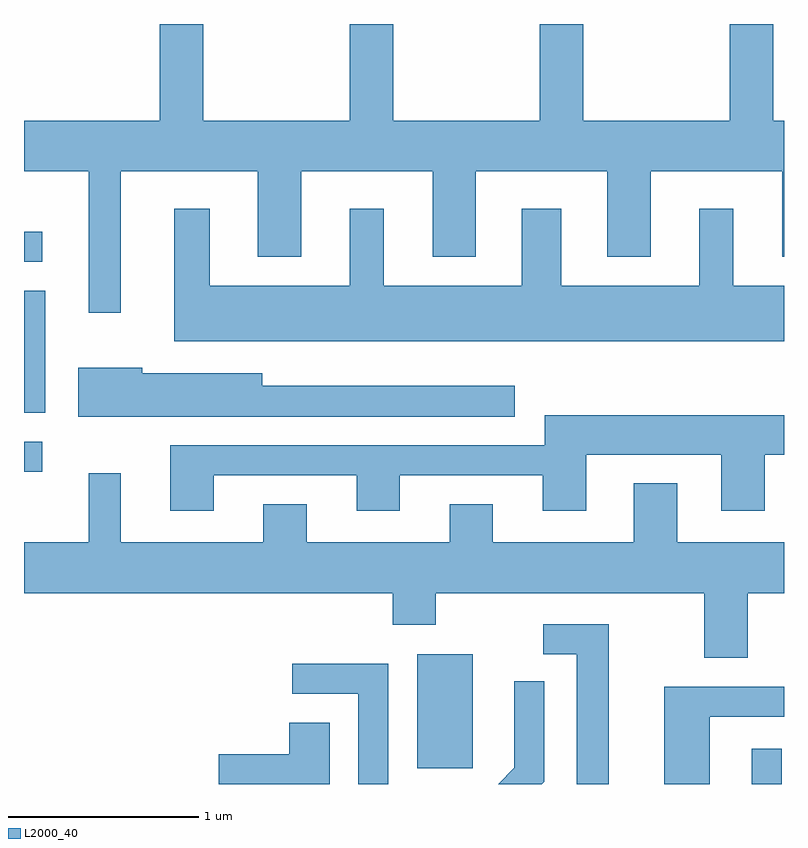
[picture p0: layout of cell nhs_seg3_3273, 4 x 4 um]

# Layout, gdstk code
import gdstk
lib = gdstk.Library(unit=1e-6, precision=1e-09)
def R(c, l, rs):  # rectangles x0, y0, x1, y1
    for r in rs: c.add(gdstk.rectangle(r[:2], r[2:], *l))
def P(c, l, *ps):  # polygons
    for p in ps: c.add(gdstk.Polygon(p, *l))
L2000_40 = (2000, 40)

nhs_seg3_3273 = lib.new_cell('nhs_seg3_3273')
R(nhs_seg3_3273, L2000_40, [(285.441,1133.892,285.599,1134.078), (283.681,1133.976,283.974,1134.574), (281.611,1135.536,281.708,1135.694), (281.611,1135.846,281.724,1136.489), (281.611,1136.641,281.708,1136.799)])
P(nhs_seg3_3273, L2000_40, [(283.554,1137.892),(283.326,1137.892),(283.326,1137.384),(282.554,1137.384),(282.554,1137.892),(282.326,1137.892),(282.326,1137.384),(281.611,1137.384),(281.611,1137.116),(281.951,1137.116),(281.951,1136.373),(282.119,1136.373),(282.119,1137.116),(282.841,1137.116),(282.841,1136.666),(283.069,1136.666),(283.069,1137.116),(283.761,1137.116),(283.761,1136.666),(283.989,1136.666),(283.989,1137.116),(284.681,1137.116),(284.681,1136.666),(284.909,1136.666),(284.909,1137.116),(285.601,1137.116),(285.601,1136.666),(285.611,1136.666),(285.611,1137.384),(285.554,1137.384),(285.554,1137.892),(285.326,1137.892),(285.326,1137.384),(284.554,1137.384),(284.554,1137.892),(284.326,1137.892),(284.326,1137.384),(283.554,1137.384)],
  [(285.611,1136.514),(285.344,1136.514),(285.344,1136.919),(285.166,1136.919),(285.166,1136.514),(284.439,1136.514),(284.439,1136.919),(284.231,1136.919),(284.231,1136.514),(283.504,1136.514),(283.504,1136.919),(283.326,1136.919),(283.326,1136.514),(282.589,1136.514),(282.589,1136.919),(282.401,1136.919),(282.401,1136.221),(285.611,1136.221)],
  [(284.193,1135.989),(282.864,1135.989),(282.864,1136.054),(282.234,1136.054),(282.234,1136.084),(281.896,1136.084),(281.896,1135.826),(284.193,1135.826)],
  [(282.609,1135.516),(283.361,1135.516),(283.361,1135.331),(283.589,1135.331),(283.589,1135.516),(284.341,1135.516),(284.341,1135.331),(284.569,1135.331),(284.569,1135.626),(285.281,1135.626),(285.281,1135.331),(285.509,1135.331),(285.509,1135.626),(285.611,1135.626),(285.611,1135.834),(284.351,1135.834),(284.351,1135.674),(282.381,1135.674),(282.381,1135.331),(282.609,1135.331)],
  [(285.191,1134.556),(285.419,1134.556),(285.419,1134.896),(285.611,1134.896),(285.611,1135.164),(285.049,1135.164),(285.049,1135.474),(284.821,1135.474),(284.821,1135.164),(284.079,1135.164),(284.079,1135.364),(283.851,1135.364),(283.851,1135.164),(283.099,1135.164),(283.099,1135.364),(282.871,1135.364),(282.871,1135.164),(282.119,1135.164),(282.119,1135.528),(281.951,1135.528),(281.951,1135.164),(281.611,1135.164),(281.611,1134.896),(283.551,1134.896),(283.551,1134.731),(283.779,1134.731),(283.779,1134.896),(285.191,1134.896)],
  [(284.689,1134.734),(284.343,1134.734),(284.343,1134.576),(284.521,1134.576),(284.521,1133.892),(284.689,1133.892)],
  [(283.529,1134.524),(283.023,1134.524),(283.023,1134.366),(283.371,1134.366),(283.371,1133.892),(283.529,1133.892)],
  [(284.349,1133.904),(284.349,1134.433),(284.191,1134.433),(284.191,1133.977),(284.106,1133.892),(284.337,1133.892)],
  [(285.219,1134.246),(285.611,1134.246),(285.611,1134.404),(284.981,1134.404),(284.981,1133.892),(285.219,1133.892)],
  [(283.219,1134.214),(283.006,1134.214),(283.006,1134.049),(282.636,1134.049),(282.636,1133.892),(283.219,1133.892)])

lib.write_gds('nhs_seg3_3273.gds')
